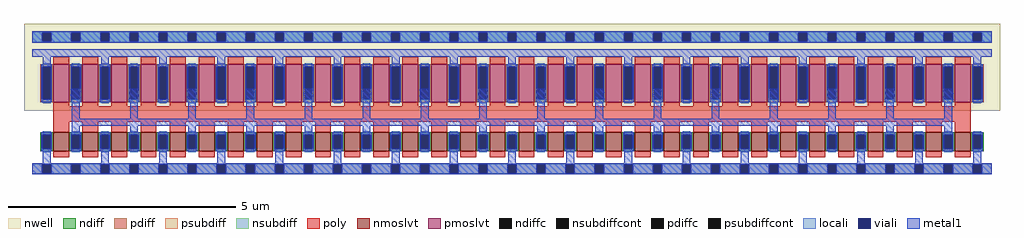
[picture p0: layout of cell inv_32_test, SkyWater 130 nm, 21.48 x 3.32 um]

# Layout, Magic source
magic
tech sky130A
magscale 1 2
<< poly >>
rect -184 -2171 -126 -2101
<< metal1 >>
rect -266 -2187 -44 -2158
use inv_16_test  inv_16_test_0
transform 1 0 394 0 1 -2362
box -649 -40 1599 624
use inv_16_test  inv_16_test_1
transform 1 0 -1654 0 1 -2362
box -649 -40 1599 624
<< end >>

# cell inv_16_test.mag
magic
tech sky130A
magscale 1 2
<< poly >>
rect 446 191 504 261
<< metal1 >>
rect 364 175 586 204
use inv_8_test  inv_8_test_0
transform 1 0 279 0 1 -2360
box 96 2320 1320 2984
use inv_8_test  inv_8_test_1
transform 1 0 -745 0 1 -2360
box 96 2320 1320 2984
<< end >>

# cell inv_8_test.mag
magic
tech sky130A
magscale 1 2
<< poly >>
rect 679 2551 737 2621
<< metal1 >>
rect 597 2535 819 2564
use inv_4_test  inv_4_test_0
transform 1 0 1055 0 1 996
box -447 1324 265 1988
use inv_4_test  inv_4_test_1
transform 1 0 543 0 1 996
box -447 1324 265 1988
<< end >>

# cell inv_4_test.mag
magic
tech sky130A
magscale 1 2
<< poly >>
rect -120 1555 -62 1625
<< metal1 >>
rect -202 1539 20 1568
use inv_2_test  inv_2_test_0
transform 1 0 -591 0 1 -1036
box 400 2360 856 3024
use inv_2_test  inv_2_test_1
transform 1 0 -847 0 1 -1036
box 400 2360 856 3024
<< end >>

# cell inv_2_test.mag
magic
tech sky130A
magscale 1 2
<< poly >>
rect 599 2591 657 2661
use hgu_inverter  x1
transform 1 0 53 0 1 2200
box 347 160 675 824
use hgu_inverter  x2
transform -1 0 1203 0 1 2200
box 347 160 675 824
<< end >>

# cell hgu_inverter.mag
magic
tech sky130A
magscale 1 2
<< psubdiff >>
rect 384 204 638 208
rect 384 166 428 204
rect 466 166 556 204
rect 594 166 638 204
rect 384 162 638 166
<< nsubdiff >>
rect 384 784 638 788
rect 384 746 428 784
rect 466 746 556 784
rect 594 746 638 784
rect 384 742 638 746
<< psubdiffcont >>
rect 428 166 466 204
rect 556 166 594 204
<< nsubdiffcont >>
rect 428 746 466 784
rect 556 746 594 784
<< poly >>
rect 476 372 546 451
<< locali >>
rect 384 784 638 788
rect 384 746 428 784
rect 466 746 556 784
rect 594 746 638 784
rect 384 742 638 746
rect 384 204 638 208
rect 384 166 428 204
rect 466 166 556 204
rect 594 166 638 204
rect 384 162 638 166
<< viali >>
rect 428 746 466 784
rect 556 746 594 784
rect 428 166 466 204
rect 556 166 594 204
<< metal1 >>
rect 384 784 638 790
rect 384 746 428 784
rect 466 746 556 784
rect 594 746 638 784
rect 384 740 638 746
rect 384 679 638 711
rect 430 646 464 679
rect 558 334 592 537
rect 430 210 464 262
rect 384 204 638 210
rect 384 166 428 204
rect 466 166 556 204
rect 594 166 638 204
rect 384 160 638 166
use sky130_fd_pr__nfet_01v8_lvt_K7QELY  sky130_fd_pr__nfet_01v8_lvt_K7QELY_0
transform 1 0 511 0 1 304
box -93 -68 93 68
use sky130_fd_pr__pfet_01v8_lvt_EZRHP7  sky130_fd_pr__pfet_01v8_lvt_EZRHP7_0
transform 1 0 511 0 1 562
box -164 -122 164 262
<< labels >>
flabel metal1 429 689 456 704 0 FreeSans 160 0 0 0 VREF
port 19 nsew
flabel metal1 392 750 418 778 0 FreeSans 160 0 0 0 VDD
port 23 nsew
flabel metal1 390 170 414 200 0 FreeSans 160 0 0 0 VSS
port 25 nsew
<< end >>

# cell sky130_fd_pr__nfet_01v8_lvt_K7QELY: kit device sky130_fd_pr__nfet_01v8_lvt, w 0.420 l 0.350 m 1 nf 1 diffcov 100 polycov 100 guard 1 glc 1 grc 1 gtc 1 gbc 1 tbcov 100 rlcov 100 topc 1 botc 1 poverlap 0 doverlap 1 lmin 0.15 wmin 0.42 compatible {sky130_fd_pr__nfet_01v8 sky130_fd_pr__nfet_01v8_lvt sky130_fd_bs_flash__special_sonosfet_star sky130_fd_pr__nfet_g5v0d10v5 sky130_fd_pr__nfet_05v0_nvt sky130_fd_pr__nfet_03v3_nvt} full_metal 1 viasrc 100 viadrn 100 viagate 100 viagb 0 viagr 0 viagl 0 viagt 0

# cell sky130_fd_pr__pfet_01v8_lvt_EZRHP7: kit device sky130_fd_pr__pfet_01v8_lvt, w 0.84 l 0.35 m 1 nf 1 diffcov 100 polycov 100 guard 1 glc 1 grc 1 gtc 1 gbc 1 tbcov 100 rlcov 100 topc 1 botc 1 poverlap 0 doverlap 1 lmin 0.35 wmin 0.42 compatible {sky130_fd_pr__pfet_01v8 sky130_fd_pr__pfet_01v8_lvt sky130_fd_pr__pfet_01v8_hvt sky130_fd_pr__pfet_g5v0d10v5} full_metal 1 viasrc 100 viadrn 100 viagate 100 viagb 0 viagr 0 viagl 0 viagt 0
